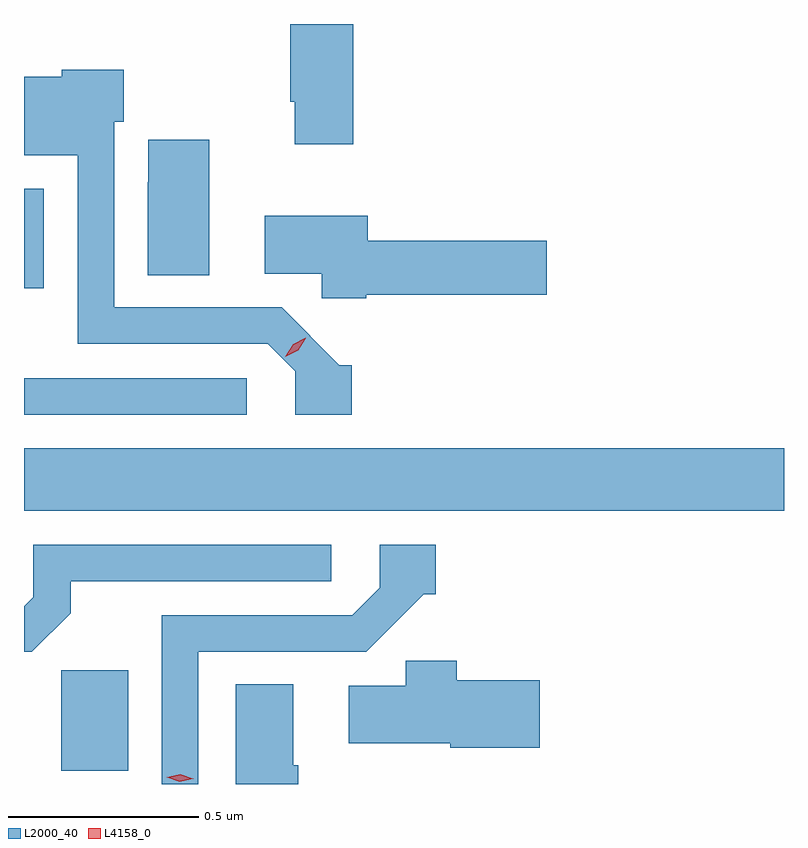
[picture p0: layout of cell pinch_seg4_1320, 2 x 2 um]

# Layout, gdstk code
import gdstk
lib = gdstk.Library(unit=1e-6, precision=1e-09)
def R(c, l, rs):  # rectangles x0, y0, x1, y1
    for r in rs: c.add(gdstk.rectangle(r[:2], r[2:], *l))
def P(c, l, *ps):  # polygons
    for p in ps: c.add(gdstk.Polygon(p, *l))
L2000_40 = (2000, 40)
L4158_0 = (4158, 0)

pinch_seg4_1320 = lib.new_cell('pinch_seg4_1320')
R(pinch_seg4_1320, L2000_40, [(348.938,770.828,349.114,771.092), (348.84,771.512,350.84,771.676), (348.84,771.765,349.426,771.861), (348.84,772.097,348.892,772.36)])
P(pinch_seg4_1320, L2000_40, [(349.706,772.793),(349.541,772.793),(349.541,772.588),(349.553,772.588),(349.553,772.476),(349.706,772.476)],
  [(349.702,771.895),(349.67,771.895),(349.518,772.047),(349.077,772.047),(349.077,772.536),(349.102,772.536),(349.102,772.672),(348.939,772.672),(348.939,772.654),(348.84,772.654),(348.84,772.448),(348.981,772.448),(348.981,771.951),(349.482,771.951),(349.554,771.879),(349.554,771.765),(349.702,771.765)],
  [(349.327,772.489),(349.167,772.489),(349.167,772.376),(349.166,772.376),(349.166,772.132),(349.327,772.132)],
  [(349.74,772.081),(350.215,772.081),(350.215,772.223),(349.744,772.223),(349.744,772.288),(349.473,772.288),(349.473,772.136),(349.623,772.136),(349.623,772.071),(349.74,772.071)],
  [(349.299,771.141),(349.74,771.141),(349.892,771.293),(349.924,771.293),(349.924,771.423),(349.776,771.423),(349.776,771.309),(349.704,771.237),(349.203,771.237),(349.203,770.793),(349.299,770.793)],
  [(348.963,771.243),(348.963,771.327),(349.648,771.327),(349.648,771.423),(348.864,771.423),(348.864,771.285),(348.84,771.261),(348.84,771.141),(348.861,771.141)],
  [(350.197,771.066),(349.979,771.066),(349.979,771.117),(349.845,771.117),(349.845,771.052),(349.695,771.052),(349.695,770.9),(349.962,770.9),(349.962,770.888),(350.197,770.888)],
  [(349.562,770.842),(349.549,770.842),(349.549,771.056),(349.397,771.056),(349.397,770.793),(349.562,770.793)])
P(pinch_seg4_1320, L4158_0, [(349.25,770.799),(349.215,770.811),(349.215,770.811),(349.215,770.811),(349.251,770.819),(349.286,770.807),(349.287,770.807),(349.286,770.807)],
  [(349.528,771.918),(349.528,771.918),(349.548,771.95),(349.581,771.967),(349.582,771.967),(349.582,771.966),(349.562,771.935),(349.528,771.918)])

lib.write_gds('pinch_seg4_1320.gds')
